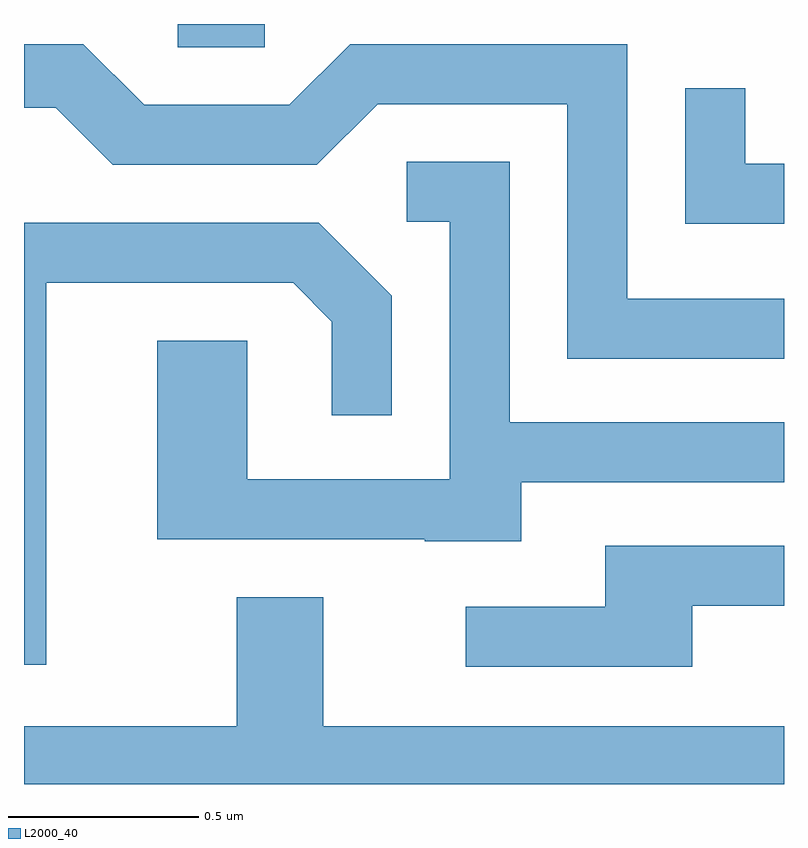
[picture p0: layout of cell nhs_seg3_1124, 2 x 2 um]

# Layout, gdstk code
import gdstk
lib = gdstk.Library(unit=1e-6, precision=1e-09)
def R(c, l, rs):  # rectangles x0, y0, x1, y1
    for r in rs: c.add(gdstk.rectangle(r[:2], r[2:], *l))
def P(c, l, *ps):  # polygons
    for p in ps: c.add(gdstk.Polygon(p, *l))
L2000_40 = (2000, 40)

nhs_seg3_1124 = lib.new_cell('nhs_seg3_1124')
R(nhs_seg3_1124, L2000_40, [(194.016,1145.831,194.244,1145.892)])
P(nhs_seg3_1124, L2000_40, [(195.611,1145.169),(195.199,1145.169),(195.199,1145.839),(194.469,1145.839),(194.309,1145.679),(193.927,1145.679),(193.767,1145.839),(193.611,1145.839),(193.611,1145.671),(193.694,1145.671),(193.844,1145.521),(194.382,1145.521),(194.542,1145.681),(195.041,1145.681),(195.041,1145.011),(195.611,1145.011)],
  [(195.611,1145.524),(195.509,1145.524),(195.509,1145.723),(195.351,1145.723),(195.351,1145.366),(195.611,1145.366)],
  [(194.919,1144.686),(195.611,1144.686),(195.611,1144.844),(194.889,1144.844),(194.889,1145.529),(194.618,1145.529),(194.618,1145.371),(194.731,1145.371),(194.731,1144.694),(194.199,1144.694),(194.199,1145.059),(193.961,1145.059),(193.961,1144.536),(194.665,1144.536),(194.665,1144.531),(194.919,1144.531)],
  [(193.669,1145.211),(194.319,1145.211),(194.421,1145.109),(194.421,1144.863),(194.579,1144.863),(194.579,1145.177),(194.387,1145.369),(193.611,1145.369),(193.611,1144.206),(193.669,1144.206)],
  [(195.369,1144.361),(195.611,1144.361),(195.611,1144.519),(195.141,1144.519),(195.141,1144.359),(194.773,1144.359),(194.773,1144.201),(195.369,1144.201)],
  [(195.611,1144.044),(194.399,1144.044),(194.399,1144.384),(194.171,1144.384),(194.171,1144.044),(193.611,1144.044),(193.611,1143.892),(195.611,1143.892)])

lib.write_gds('nhs_seg3_1124.gds')
